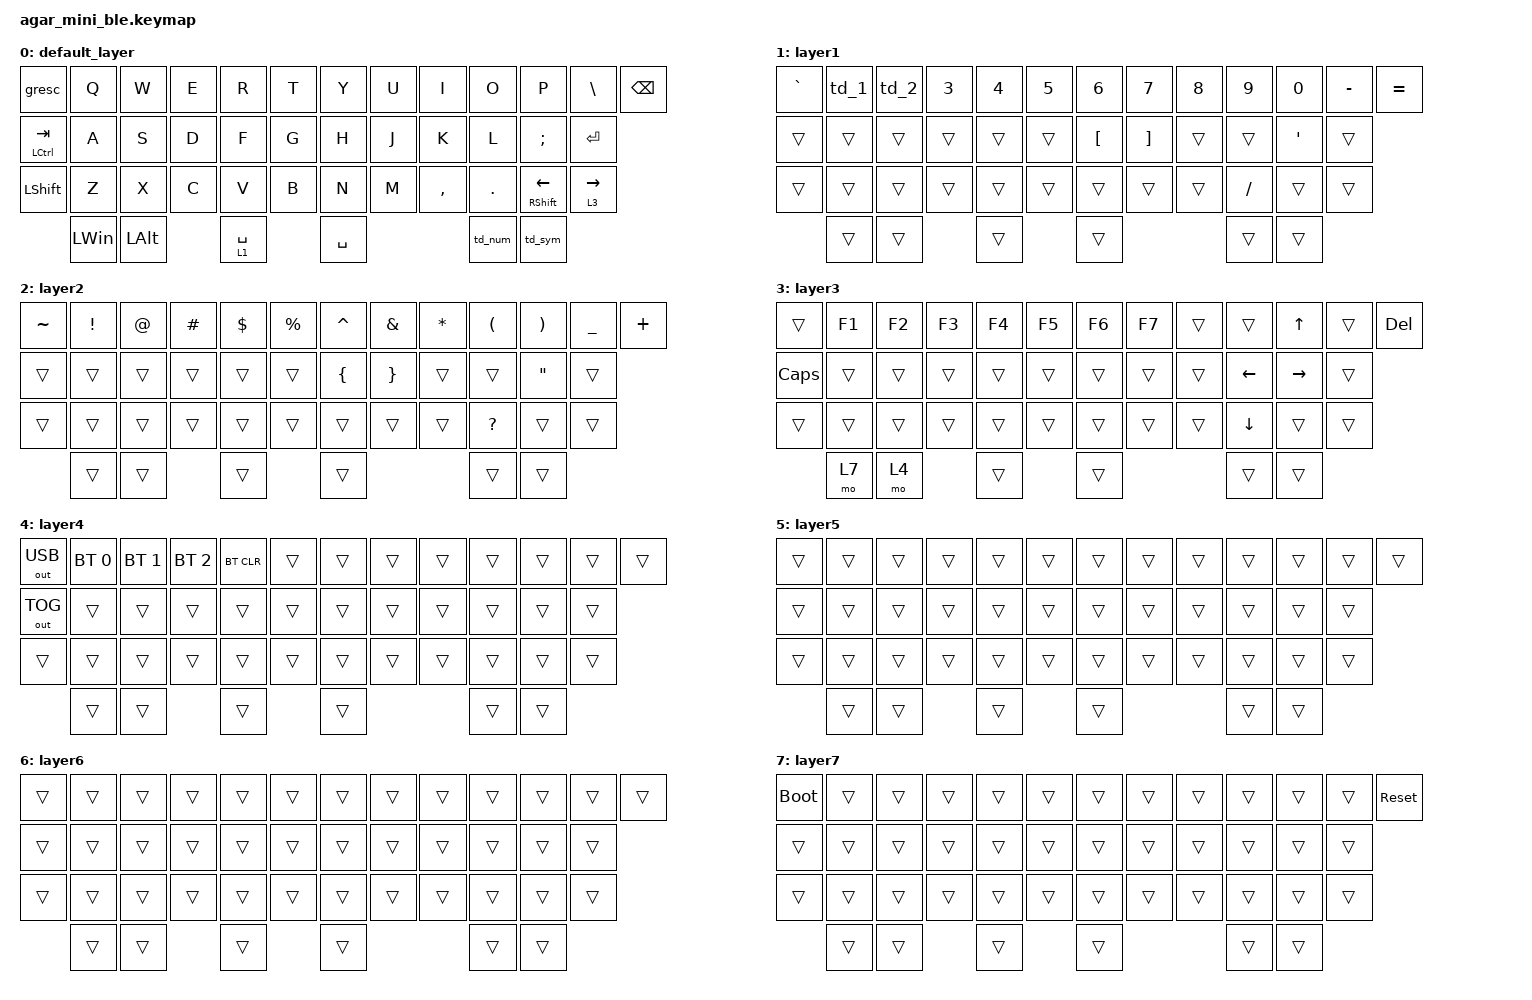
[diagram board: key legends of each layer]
/*
 * Copyright (c) 2021 The ZMK Contributors
 *
 * SPDX-License-Identifier: MIT
 */

#include "./boards/shields/klink_kbd/common.keymap"
#include <behaviors.dtsi>
#include <dt-bindings/zmk/bt.h>
#include <dt-bindings/zmk/keys.h>
#include <dt-bindings/zmk/outputs.h>

/ {
    behaviors {
        td_2: td_2 {
            compatible = "zmk,behavior-tap-dance";
            label = "TD_2";
            #binding-cells = <0>;
            bindings = <&kp NUMBER_2>, <&kp AT>;
        };

        td_num: td_num {
            compatible = "zmk,behavior-tap-dance";
            label = "TD_NUM";
            #binding-cells = <0>;
            bindings = <&kp RIGHT_ALT>, <&sl 1>, <&tog 1>;
        };

        td_sym: td_sym {
            compatible = "zmk,behavior-tap-dance";
            label = "TD_SYM";
            #binding-cells = <0>;
            bindings = <&kp RCTRL>, <&sl 2>, <&tog 2>;
        };

        td_1: td_1 {
            compatible = "zmk,behavior-tap-dance";
            label = "TD_1";
            #binding-cells = <0>;
            bindings = <&kp NUMBER_1>, <&kp EXCLAMATION>;
        };
    };

    keymap {
        compatible = "zmk,keymap";

        default_layer {
            bindings = <
&gresc                &kp Q         &kp W         &kp E  &kp R        &kp T  &kp Y      &kp U  &kp I      &kp O    &kp P           &kp BACKSLASH      &kp BSPC
&mt LEFT_CONTROL TAB  &kp A         &kp S         &kp D  &kp F        &kp G  &kp H      &kp J  &kp K      &kp L    &kp SEMI        &kp RET
&kp LSHFT             &kp Z         &kp X         &kp C  &kp V        &kp B  &kp N      &kp M  &kp COMMA  &kp DOT  &mt RSHFT LEFT  &lt 3 RIGHT_ARROW
                      &kp LEFT_WIN  &kp LEFT_ALT         &lt 1 SPACE         &kp SPACE                    &td_num  &td_sym
            >;
        };

        layer1 {
            bindings = <
&kp GRAVE  &td_1   &td_2   &kp N3  &kp N4  &kp N5  &kp N6            &kp N7             &kp N8  &kp N9     &kp N0            &kp MINUS  &kp EQUAL
&trans     &trans  &trans  &trans  &trans  &trans  &kp LEFT_BRACKET  &kp RIGHT_BRACKET  &trans  &trans     &kp SINGLE_QUOTE  &trans
&trans     &trans  &trans  &trans  &trans  &trans  &trans            &trans             &trans  &kp SLASH  &trans            &trans
           &trans  &trans          &trans          &trans                                       &trans     &trans
            >;
        };

        layer2 {
            bindings = <
&kp TILDE  &kp EXCLAMATION  &kp AT  &kp HASH  &kp DOLLAR  &kp PRCNT  &kp CARET       &kp AMPERSAND    &kp ASTERISK  &kp LEFT_PARENTHESIS  &kp RIGHT_PARENTHESIS  &kp UNDERSCORE  &kp PLUS
&trans     &trans           &trans  &trans    &trans      &trans     &kp LEFT_BRACE  &kp RIGHT_BRACE  &trans        &trans                &kp DOUBLE_QUOTES      &trans
&trans     &trans           &trans  &trans    &trans      &trans     &trans          &trans           &trans        &kp QUESTION          &trans                 &trans
           &trans           &trans            &trans                 &trans                                         &trans                &trans
            >;
        };

        layer3 {
            bindings = <
&trans    &kp F1  &kp F2  &kp F3  &kp F4  &kp F5  &kp F6  &kp F7  &trans  &trans    &kp UP     &trans  &kp DEL
&kp CLCK  &trans  &trans  &trans  &trans  &trans  &trans  &trans  &trans  &kp LEFT  &kp RIGHT  &trans
&trans    &trans  &trans  &trans  &trans  &trans  &trans  &trans  &trans  &kp DOWN  &trans     &trans
          &mo 7   &mo 4           &trans          &trans                  &trans    &trans
            >;
        };

        layer4 {
            bindings = <
&out OUT_USB  &bt BT_SEL 0  &bt BT_SEL 1  &bt BT_SEL 2  &bt BT_CLR  &trans  &trans  &trans  &trans  &trans  &trans  &trans  &trans
&out OUT_TOG  &trans        &trans        &trans        &trans      &trans  &trans  &trans  &trans  &trans  &trans  &trans
&trans        &trans        &trans        &trans        &trans      &trans  &trans  &trans  &trans  &trans  &trans  &trans
              &trans        &trans                      &trans              &trans                  &trans  &trans
            >;
        };

        layer5 {
            bindings = <
&trans  &trans  &trans  &trans  &trans  &trans  &trans  &trans  &trans  &trans  &trans  &trans  &trans
&trans  &trans  &trans  &trans  &trans  &trans  &trans  &trans  &trans  &trans  &trans  &trans
&trans  &trans  &trans  &trans  &trans  &trans  &trans  &trans  &trans  &trans  &trans  &trans
        &trans  &trans          &trans          &trans                  &trans  &trans
            >;
        };

        layer6 {
            bindings = <
&trans  &trans  &trans  &trans  &trans  &trans  &trans  &trans  &trans  &trans  &trans  &trans  &trans
&trans  &trans  &trans  &trans  &trans  &trans  &trans  &trans  &trans  &trans  &trans  &trans
&trans  &trans  &trans  &trans  &trans  &trans  &trans  &trans  &trans  &trans  &trans  &trans
        &trans  &trans          &trans          &trans                  &trans  &trans
            >;
        };

        layer7 {
            bindings = <
&bootloader  &trans  &trans  &trans  &trans  &trans  &trans  &trans  &trans  &trans  &trans  &trans  &sys_reset
&trans       &trans  &trans  &trans  &trans  &trans  &trans  &trans  &trans  &trans  &trans  &trans
&trans       &trans  &trans  &trans  &trans  &trans  &trans  &trans  &trans  &trans  &trans  &trans
             &trans  &trans          &trans          &trans                  &trans  &trans
            >;
        };
    };
};
